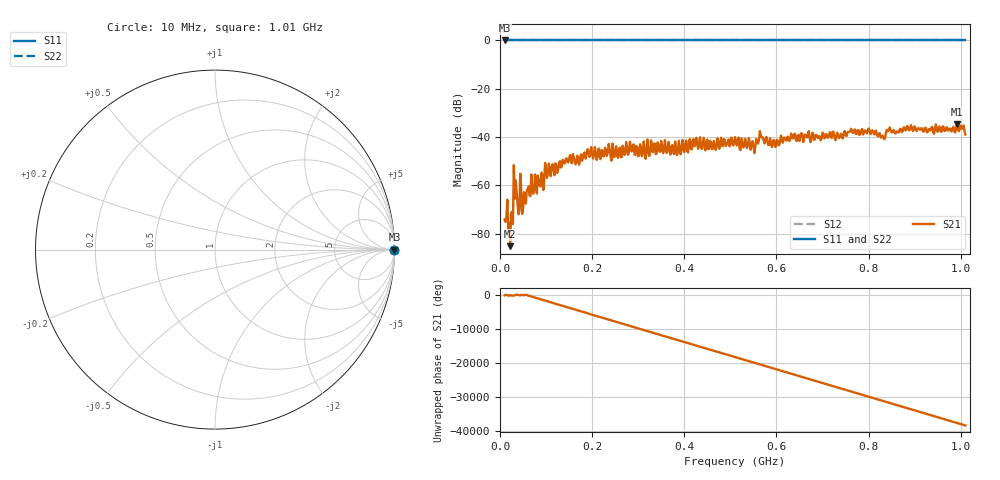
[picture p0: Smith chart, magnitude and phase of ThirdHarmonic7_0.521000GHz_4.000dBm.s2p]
! 8/17/2025 3:20:27 PM
! C:\ANRITSUVNA\TEMP\TEMP.S2P
! CHANNEL.1
! TR.MEASUREMENT
! RAW.DATA
! RF.CORRECTION.OFF
! AVERAGING.OFF
! IF.BANDWIDTH: 5KHZ
! SWEEPTYPE:  FREQ.SWEEP(Linear)
! Reference Plane Port Info
! PORT:  PORT1  PORT2
! DISTANCE:  0  m  0  m
! TIME:  0  s  0  s
! PHASE.OFFSET:  0  deg.  0  deg.
! LOSS:  0  dB  0  dB
! REF.LOSS:  0  dB  0  dB
! REF.FREQ:  0  Hz  0  Hz
! Power Info
! POWER:  -20  dBm  -20  dBm
! EFF.POWER:  -20  dBm  -20  dBm
! SOURCE.ATTEN:  0  dB  0  dB
! TEST.ATTEN:  0  dB  0  dB
# GHZ S RI R 50.0
! FREQ.GHZ  S11RE  S11IM  S21RE  S21IM  S12RE  S12IM  S22RE  S22IM
!; PortSelection: Port_12
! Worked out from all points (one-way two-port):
!   501 points, 10 MHz to 1.01 GHz, reference 50 ohm
!   highest |S21| = -34.71 dB at 992 MHz (marker M1); lowest = -85.2 dB at 22 MHz (marker M2)
!   lowest |S11| = 0.0 dB at 10 MHz (marker M3)
!   |S11| at or under -10 dB: nowhere
!   |S22| runs from 0.0 to 0.0 dB; largest |S21 - S12| = 1
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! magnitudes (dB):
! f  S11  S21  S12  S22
! 10 MHz  0.0  -74.2  0.0  0.0
! 22 MHz  0.0  -85.2  0.0  0.0
! 34 MHz  0.0  -57.9  0.0  0.0
! 38 MHz  0.0  -66.9  0.0  0.0
! 48 MHz  0.0  -71.9  0.0  0.0
! 52 MHz  0.0  -62.9  0.0  0.0
! 64 MHz  0.0  -64.2  0.0  0.0
! 90 MHz  0.0  -54.8  0.0  0.0
! 102 MHz  0.0  -56.9  0.0  0.0
! 178 MHz  0.0  -49.8  0.0  0.0
! 344 MHz  0.0  -43.2  0.0  0.0
! 510 MHz  0.0  -40.1  0.0  0.0
! 548 MHz  0.0  -41.7  0.0  0.0
! 566 MHz  0.0  -39.2  0.0  0.0
! 594 MHz  0.0  -41.2  0.0  0.0
! 636 MHz  0.0  -40.6  0.0  0.0
! 678 MHz  0.0  -38.2  0.0  0.0
! 766 MHz  0.0  -38.3  0.0  0.0
! 832 MHz  0.0  -39.9  0.0  0.0
! 844 MHz  0.0  -36.7  0.0  0.0
! 992 MHz  0.0  -34.7  0.0  0.0
! 1.01 GHz  0.0  -39.0  0.0  0.0
